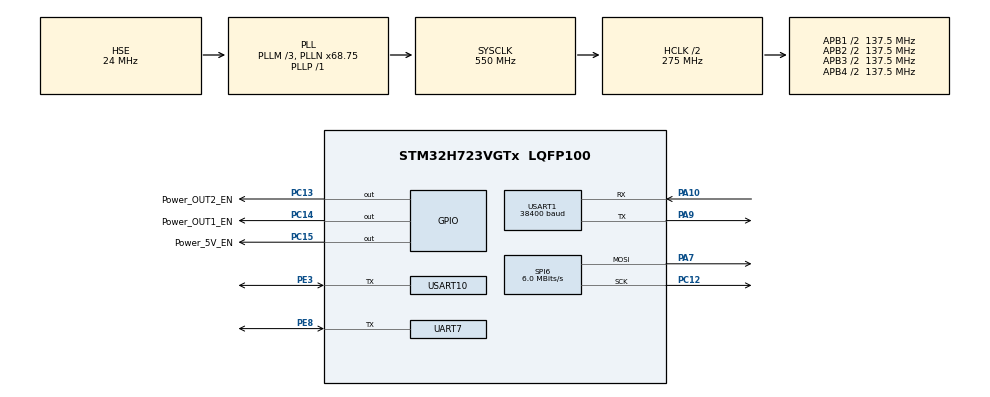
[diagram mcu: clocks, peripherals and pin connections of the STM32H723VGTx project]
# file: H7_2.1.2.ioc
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Bdma.Request0=SPI6_TX
Bdma.RequestsNb=1
Bdma.SPI6_TX.0.Direction=DMA_MEMORY_TO_PERIPH
Bdma.SPI6_TX.0.EventEnable=DISABLE
Bdma.SPI6_TX.0.Instance=BDMA_Channel0
Bdma.SPI6_TX.0.MemDataAlignment=DMA_MDATAALIGN_BYTE
Bdma.SPI6_TX.0.MemInc=DMA_MINC_ENABLE
Bdma.SPI6_TX.0.Mode=DMA_NORMAL
Bdma.SPI6_TX.0.PeriphDataAlignment=DMA_PDATAALIGN_BYTE
Bdma.SPI6_TX.0.PeriphInc=DMA_PINC_DISABLE
Bdma.SPI6_TX.0.Polarity=HAL_DMAMUX_REQ_GEN_RISING
Bdma.SPI6_TX.0.Priority=DMA_PRIORITY_LOW
Bdma.SPI6_TX.0.RequestNumber=1
Bdma.SPI6_TX.0.SignalID=NONE
Bdma.SPI6_TX.0.SyncEnable=DISABLE
Bdma.SPI6_TX.0.SyncPolarity=HAL_DMAMUX_SYNC_NO_EVENT
Bdma.SPI6_TX.0.SyncRequestNumber=1
Bdma.SPI6_TX.0.SyncSignalID=NONE
CORTEX_M7.CPU_ICache=Enabled
CORTEX_M7.MPU_Control=__NULL
CORTEX_M7.default_mode_Activation=1
Dma.Request0=USART1_RX
Dma.Request1=USART1_TX
Dma.Request2=USART10_RX
Dma.Request3=USART10_TX
Dma.Request4=UART7_RX
Dma.Request5=UART7_TX
Dma.UART7_RX.4.Direction=DMA_PERIPH_TO_MEMORY
Dma.UART7_RX.4.EventEnable=DISABLE
Dma.UART7_RX.4.FIFOMode=DMA_FIFOMODE_DISABLE
Dma.UART7_RX.4.Instance=DMA1_Stream4
Dma.UART7_RX.4.MemDataAlignment=DMA_MDATAALIGN_BYTE
Dma.UART7_RX.4.MemInc=DMA_MINC_ENABLE
Dma.UART7_RX.4.Mode=DMA_NORMAL
Dma.UART7_RX.4.PeriphDataAlignment=DMA_PDATAALIGN_BYTE
Dma.UART7_RX.4.PeriphInc=DMA_PINC_DISABLE
Dma.UART7_RX.4.Polarity=HAL_DMAMUX_REQ_GEN_RISING
Dma.UART7_RX.4.Priority=DMA_PRIORITY_LOW
Dma.UART7_RX.4.RequestNumber=1
Dma.UART7_RX.4.SignalID=NONE
Dma.UART7_RX.4.SyncEnable=DISABLE
Dma.UART7_RX.4.SyncPolarity=HAL_DMAMUX_SYNC_NO_EVENT
Dma.UART7_RX.4.SyncRequestNumber=1
Dma.UART7_RX.4.SyncSignalID=NONE
Dma.UART7_TX.5.Direction=DMA_MEMORY_TO_PERIPH
Dma.UART7_TX.5.EventEnable=DISABLE
Dma.UART7_TX.5.FIFOMode=DMA_FIFOMODE_DISABLE
Dma.UART7_TX.5.Instance=DMA1_Stream5
Dma.UART7_TX.5.MemDataAlignment=DMA_MDATAALIGN_BYTE
Dma.UART7_TX.5.MemInc=DMA_MINC_ENABLE
Dma.UART7_TX.5.Mode=DMA_NORMAL
Dma.UART7_TX.5.PeriphDataAlignment=DMA_PDATAALIGN_BYTE
Dma.UART7_TX.5.PeriphInc=DMA_PINC_DISABLE
Dma.UART7_TX.5.Polarity=HAL_DMAMUX_REQ_GEN_RISING
Dma.UART7_TX.5.Priority=DMA_PRIORITY_LOW
Dma.UART7_TX.5.RequestNumber=1
Dma.UART7_TX.5.SignalID=NONE
Dma.UART7_TX.5.SyncEnable=DISABLE
Dma.UART7_TX.5.SyncPolarity=HAL_DMAMUX_SYNC_NO_EVENT
Dma.UART7_TX.5.SyncRequestNumber=1
Dma.UART7_TX.5.SyncSignalID=NONE
Dma.USART10_RX.2.Direction=DMA_PERIPH_TO_MEMORY
Dma.USART10_RX.2.EventEnable=DISABLE
Dma.USART10_RX.2.FIFOMode=DMA_FIFOMODE_DISABLE
Dma.USART10_RX.2.Instance=DMA1_Stream2
Dma.USART10_RX.2.MemDataAlignment=DMA_MDATAALIGN_BYTE
Dma.USART10_RX.2.MemInc=DMA_MINC_ENABLE
Dma.USART10_RX.2.Mode=DMA_NORMAL
Dma.USART10_RX.2.PeriphDataAlignment=DMA_PDATAALIGN_BYTE
Dma.USART10_RX.2.PeriphInc=DMA_PINC_DISABLE
Dma.USART10_RX.2.Polarity=HAL_DMAMUX_REQ_GEN_RISING
Dma.USART10_RX.2.Priority=DMA_PRIORITY_LOW
Dma.USART10_RX.2.RequestNumber=1
Dma.USART10_RX.2.SignalID=NONE
Dma.USART10_RX.2.SyncEnable=DISABLE
Dma.USART10_RX.2.SyncPolarity=HAL_DMAMUX_SYNC_NO_EVENT
Dma.USART10_RX.2.SyncRequestNumber=1
Dma.USART10_RX.2.SyncSignalID=NONE
Dma.USART10_TX.3.Direction=DMA_MEMORY_TO_PERIPH
Dma.USART10_TX.3.EventEnable=DISABLE
Dma.USART10_TX.3.FIFOMode=DMA_FIFOMODE_DISABLE
Dma.USART10_TX.3.Instance=DMA1_Stream3
Dma.USART10_TX.3.MemDataAlignment=DMA_MDATAALIGN_BYTE
Dma.USART10_TX.3.MemInc=DMA_MINC_ENABLE
Dma.USART10_TX.3.Mode=DMA_NORMAL
Dma.USART10_TX.3.PeriphDataAlignment=DMA_PDATAALIGN_BYTE
Dma.USART10_TX.3.PeriphInc=DMA_PINC_DISABLE
Dma.USART10_TX.3.Polarity=HAL_DMAMUX_REQ_GEN_RISING
Dma.USART10_TX.3.Priority=DMA_PRIORITY_LOW
Dma.USART10_TX.3.RequestNumber=1
Dma.USART10_TX.3.SignalID=NONE
Dma.USART10_TX.3.SyncEnable=DISABLE
Dma.USART10_TX.3.SyncPolarity=HAL_DMAMUX_SYNC_NO_EVENT
Dma.USART10_TX.3.SyncRequestNumber=1
Dma.USART10_TX.3.SyncSignalID=NONE
Dma.USART1_RX.0.Direction=DMA_PERIPH_TO_MEMORY
Dma.USART1_RX.0.EventEnable=DISABLE
Dma.USART1_RX.0.FIFOMode=DMA_FIFOMODE_DISABLE
Dma.USART1_RX.0.Instance=DMA1_Stream0
Dma.USART1_RX.0.MemDataAlignment=DMA_MDATAALIGN_BYTE
Dma.USART1_RX.0.MemInc=DMA_MINC_ENABLE
Dma.USART1_RX.0.Mode=DMA_NORMAL
Dma.USART1_RX.0.PeriphDataAlignment=DMA_PDATAALIGN_BYTE
Dma.USART1_RX.0.PeriphInc=DMA_PINC_DISABLE
Dma.USART1_RX.0.Polarity=HAL_DMAMUX_REQ_GEN_RISING
Dma.USART1_RX.0.Priority=DMA_PRIORITY_LOW
Dma.USART1_RX.0.RequestNumber=1
Dma.USART1_RX.0.SignalID=NONE
Dma.USART1_RX.0.SyncEnable=DISABLE
Dma.USART1_RX.0.SyncPolarity=HAL_DMAMUX_SYNC_NO_EVENT
Dma.USART1_RX.0.SyncRequestNumber=1
Dma.USART1_RX.0.SyncSignalID=NONE
Dma.USART1_TX.1.Direction=DMA_MEMORY_TO_PERIPH
Dma.USART1_TX.1.EventEnable=DISABLE
Dma.USART1_TX.1.FIFOMode=DMA_FIFOMODE_DISABLE
Dma.USART1_TX.1.Instance=DMA1_Stream1
Dma.USART1_TX.1.MemDataAlignment=DMA_MDATAALIGN_BYTE
Dma.USART1_TX.1.MemInc=DMA_MINC_ENABLE
Dma.USART1_TX.1.Mode=DMA_NORMAL
Dma.USART1_TX.1.PeriphDataAlignment=DMA_PDATAALIGN_BYTE
Dma.USART1_TX.1.PeriphInc=DMA_PINC_DISABLE
Dma.USART1_TX.1.Polarity=HAL_DMAMUX_REQ_GEN_RISING
Dma.USART1_TX.1.Priority=DMA_PRIORITY_LOW
Dma.USART1_TX.1.RequestNumber=1
Dma.USART1_TX.1.SignalID=NONE
Dma.USART1_TX.1.SyncEnable=DISABLE
Dma.USART1_TX.1.SyncPolarity=HAL_DMAMUX_SYNC_NO_EVENT
Dma.USART1_TX.1.SyncRequestNumber=1
Dma.USART1_TX.1.SyncSignalID=NONE
FREERTOS.MEMORY_ALLOCATION=1
FREERTOS.Tasks01=defaultTask,0,128,StartDefaultTask,Default,NULL,Static,defaultTaskBuffer,defaultTaskControlBlock
FREERTOS.Timers01=myTimer01,Callback01,osTimerPeriodic,Default,NULL,Static,myTimer01ControlBlock;myTimer02,Callback02,osTimerPeriodic,Default,NULL,Static,myTimer02ControlBlock;myTimer03,Callback03,osTimerPeriodic,Default,NULL,Static,myTimer03ControlBlock
FREERTOS.configENABLE_FPU=1
FREERTOS.configUSE_NEWLIB_REENTRANT=1
FREERTOS.configUSE_TIMERS=1
FREERTOS.copyHeapFile=0
Mcu.Family=STM32H7
Mcu.Name=STM32H723VGTx
Mcu.Package=LQFP100
NVIC.BDMA_Channel0_IRQn=true\:5\:0\:false\:false\:true\:true\:false\:true\:true
NVIC.DMA1_Stream0_IRQn=true\:5\:0\:false\:false\:true\:true\:false\:true\:true
NVIC.DMA1_Stream1_IRQn=true\:5\:0\:false\:false\:true\:true\:false\:true\:true
NVIC.DMA1_Stream2_IRQn=true\:5\:0\:false\:false\:true\:true\:false\:true\:true
NVIC.DMA1_Stream3_IRQn=true\:5\:0\:false\:false\:true\:true\:false\:true\:true
NVIC.DMA1_Stream4_IRQn=true\:5\:0\:false\:false\:true\:true\:false\:true\:true
NVIC.DMA1_Stream5_IRQn=true\:5\:0\:false\:false\:true\:true\:false\:true\:true
NVIC.PriorityGroup=NVIC_PRIORITYGROUP_4
NVIC.SPI6_IRQn=true\:5\:0\:false\:false\:true\:true\:true\:true\:true
NVIC.TIM6_DAC_IRQn=true\:15\:0\:false\:false\:true\:false\:false\:true\:true
NVIC.TimeBase=TIM6_DAC_IRQn
NVIC.TimeBaseIP=TIM6
NVIC.UART7_IRQn=true\:5\:0\:false\:false\:true\:true\:true\:true\:true
NVIC.USART10_IRQn=true\:5\:0\:false\:false\:true\:true\:true\:true\:true
NVIC.USART1_IRQn=true\:5\:0\:false\:false\:true\:true\:true\:true\:true
PA10.Mode=Asynchronous
PA10.Signal=USART1_RX
PA13(JTMS/SWDIO).Mode=Serial_Wire
PA13(JTMS/SWDIO).Signal=DEBUG_JTMS-SWDIO
PA14(JTCK/SWCLK).Mode=Serial_Wire
PA14(JTCK/SWCLK).Signal=DEBUG_JTCK-SWCLK
PA7.Mode=TX_Only_Simplex_Unidirect_Master
PA7.Signal=SPI6_MOSI
PA9.Mode=Asynchronous
PA9.Signal=USART1_TX
PC12.Mode=TX_Only_Simplex_Unidirect_Master
PC12.Signal=SPI6_SCK
PC13.GPIO_Label=Power_OUT2_EN
PC13.Signal=GPIO_Output
PC14-OSC32_IN.GPIO_Label=Power_OUT1_EN
PC14-OSC32_IN.Signal=GPIO_Output
PC15-OSC32_OUT.GPIO_Label=Power_5V_EN
PC15-OSC32_OUT.Signal=GPIO_Output
PE2.GPIO_ModeDefaultPP=GPIO_MODE_AF_PP
PE2.GPIO_PuPd=GPIO_NOPULL
PE2.Signal=USART10_RX
PE3.GPIO_ModeDefaultOD=GPIO_MODE_AF_PP
PE3.GPIO_ModeDefaultPP=GPIO_MODE_AF_OD
PE3.Mode=Half_duplex(single_wire_mode)
PE3.Signal=USART10_TX
PE8.GPIO_ModeDefaultPP=GPIO_MODE_AF_OD
PE8.Mode=Half_duplex(single_wire_mode)
PE8.Signal=UART7_TX
PH0-OSC_IN.Mode=HSE-External-Oscillator
PH0-OSC_IN.Signal=RCC_OSC_IN
PH1-OSC_OUT.Mode=HSE-External-Oscillator
PH1-OSC_OUT.Signal=RCC_OSC_OUT
ProjectManager.HeapSize=0x200
ProjectManager.StackSize=0x400
ProjectManager.TargetToolchain=STM32CubeIDE
RCC.ADCFreq_Value=96000000
RCC.APB1Freq_Value=137500000
RCC.APB2Freq_Value=137500000
RCC.APB3Freq_Value=137500000
RCC.APB4Freq_Value=137500000
RCC.CortexFreq_Value=550000000
RCC.D1PPRE=RCC_APB3_DIV2
RCC.D2PPRE1=RCC_APB1_DIV2
RCC.D2PPRE2=RCC_APB2_DIV2
RCC.D3PPRE=RCC_APB4_DIV2
RCC.DIVM1=3
RCC.DIVM2=2
RCC.DIVM3=2
RCC.DIVN1=68
RCC.DIVN2=16
RCC.DIVN3=18
RCC.DIVP1=1
RCC.DIVQ3=3
RCC.HCLKFreq_Value=275000000
RCC.HPRE=RCC_HCLK_DIV2
RCC.HSE_VALUE=24000000
RCC.PLL2FRACN=0
RCC.PLL3FRACN=0
RCC.PLLFRACN=6144
RCC.PLLSourceVirtual=RCC_PLLSOURCE_HSE
RCC.SPI6CLockSelection=RCC_SPI6CLKSOURCE_HSE
RCC.SYSCLKFreq_VALUE=550000000
RCC.SYSCLKSource=RCC_SYSCLKSOURCE_PLLCLK
RCC.USART16CLockSelection=RCC_USART16910CLKSOURCE_PLL2
RCC.USBFreq_Value=275000000
SPI6.BaudRatePrescaler=SPI_BAUDRATEPRESCALER_4
SPI6.CLKPhase=SPI_PHASE_2EDGE
SPI6.CalculateBaudRate=6.0 MBits/s
SPI6.DataSize=SPI_DATASIZE_8BIT
SPI6.Direction=SPI_DIRECTION_2LINES_TXONLY
SPI6.Mode=SPI_MODE_MASTER
SPI6.VirtualType=VM_MASTER
UART7.BaudRate=38400
UART7.RxPinLevelInvertParam=UART_ADVFEATURE_RXINV_ENABLE
UART7.TxPinLevelInvertParam=UART_ADVFEATURE_TXINV_ENABLE
USART1.BaudRate=38400
USART1.VirtualMode-Asynchronous=VM_ASYNC
USART10.BaudRate=38400
USART10.RxPinLevelInvertParam=ADVFEATURE_RXINV_ENABLE
USART10.TxPinLevelInvertParam=ADVFEATURE_TXINV_ENABLE
USART10.VirtualMode=VM_ASYNC
VP_FREERTOS_VS_CMSIS_V1.Mode=CMSIS_V1
VP_MEMORYMAP_VS_MEMORYMAP.Mode=CurAppReg
VP_SYS_VS_tim6.Mode=TIM6
board=custom

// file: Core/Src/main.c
/* USER CODE BEGIN Header */
/**
  ******************************************************************************
  * @file           : main.c
  * @brief          : Main program body
  ******************************************************************************
  * @attention
  *
  * Copyright (c) 2026 STMicroelectronics.
  * All rights reserved.
  *
  * This software is licensed under terms that can be found in the LICENSE file
  * in the root directory of this software component.
  * If no LICENSE file comes with this software, it is provided AS-IS.
  *
  ******************************************************************************
  */
/* USER CODE END Header */
#include "main.h"
#include "cmsis_os.h"
#include "bdma.h"
#include "dma.h"
#include "spi.h"
#include "usart.h"
#include "gpio.h"

/* USER CODE BEGIN Includes */
#include <string.h>
/* USER CODE END Includes */

/* USER CODE BEGIN PV */
/* UART relay host (USART1) <-> motor (UART7, half-duplex) - from L475_M0603_Feedback */
uint8_t usart1_rx_data[256] = {0};
uint8_t uart7_rx_data[256] = {0};
uint8_t usart1_tx_buf[256] = {0};
uint8_t uart7_tx_buf[256] = {0};
volatile uint16_t usart1_tx_len = 0;
volatile uint16_t uart7_tx_len = 0;
volatile uint8_t usart1_tx_busy = 0;
volatile uint8_t uart7_tx_busy = 0;

/* M0603 motor command packets (10 bytes) - for direct motor control */
const uint8_t m0603_enable[10]      = {0x01, 0xA0, 0x08, 0x00, 0x00, 0x00, 0x00, 0x00, 0x00, 0x6F};
const uint8_t m0603_speed_loop[10]   = {0x01, 0xA0, 0x02, 0x00, 0x00, 0x00, 0x00, 0x00, 0x00, 0xE4};
const uint8_t m0603_30RPM[10]       = {0x01, 0x64, 0x01, 0x2C, 0x00, 0x00, 0x00, 0x00, 0x00, 0xA6};
const uint8_t m0603_10RPM_CW[10]    = {0x01, 0x64, 0x00, 0x64, 0x00, 0x00, 0x00, 0x00, 0x00, 0x4F};
const uint8_t m0603_10RPM_CCW[10]   = {0x01, 0x64, 0xFF, 0x9C, 0x00, 0x00, 0x00, 0x00, 0x00, 0x9A};
const uint8_t m0603_30RPM_CCW[10]   = {0x01, 0x64, 0xFE, 0xD4, 0x00, 0x00, 0x00, 0x00, 0x00, 0x73};
/* USER CODE END PV */

void SystemClock_Config(void);
void PeriphCommonClock_Config(void);
void MX_FREERTOS_Init(void);

/* USER CODE BEGIN 0 */
/* UART7->USART1 relay: motor feedback on UART7 is forwarded up to host on USART1.
 * (No commands are forwarded from USART1 down to the motors in this mode.) */
static void UART7_StartRxDMA(void)
{
  HAL_UART_DMAStop(&huart7);
  HAL_HalfDuplex_EnableReceiver(&huart7);
  if (HAL_UARTEx_ReceiveToIdle_DMA(&huart7, uart7_rx_data, sizeof(uart7_rx_data)) == HAL_OK)
  {
    __HAL_DMA_DISABLE_IT(huart7.hdmarx, DMA_IT_HT);
  }
}

static void UART7_StopRxDMA(void)
{
  HAL_UART_DMAStop(&huart7);
}
/* USER CODE END 0 */

int main(void)
{

  /* Enable the CPU Cache */

  /* Enable I-Cache---------------------------------------------------------*/
  SCB_EnableICache();

  /* MCU Configuration--------------------------------------------------------*/

  /* Reset of all peripherals, Initializes the Flash interface and the Systick. */
  HAL_Init();

  /* Configure the system clock */
  SystemClock_Config();

  /* Configure the peripherals common clocks */
  PeriphCommonClock_Config();

  /* Initialize all configured peripherals */
  MX_GPIO_Init();
  MX_BDMA_Init();
  MX_DMA_Init();
  MX_SPI6_Init();
  MX_USART1_UART_Init();
  MX_USART10_UART_Init();
  MX_UART7_Init();
  /* USER CODE BEGIN 2 */
  HAL_GPIO_TogglePin(Power_5V_EN_GPIO_Port, Power_5V_EN_Pin);
  HAL_GPIO_TogglePin(Power_OUT2_EN_GPIO_Port, Power_OUT2_EN_Pin);
  HAL_GPIO_TogglePin(Power_OUT1_EN_GPIO_Port, Power_OUT1_EN_Pin);
  HAL_Delay(300);
  /* UART7 RX DMA/relay disabled while using UART7 for periodic motor TX only. */
  /* USER CODE END 2 */

  /* Call init function for freertos objects (in cmsis_os2.c) */
  MX_FREERTOS_Init();

  /* Start scheduler */
  osKernelStart();

  /* We should never get here as control is now taken by the scheduler */

  /* Infinite loop */
  while (1)
  {

  }
}

void SystemClock_Config(void)
{
  RCC_OscInitTypeDef RCC_OscInitStruct = {0};
  RCC_ClkInitTypeDef RCC_ClkInitStruct = {0};

  /** Supply configuration update enable
  */
  HAL_PWREx_ConfigSupply(PWR_LDO_SUPPLY);

  /** Configure the main internal regulator output voltage
  */
  __HAL_PWR_VOLTAGESCALING_CONFIG(PWR_REGULATOR_VOLTAGE_SCALE0);

  while(!__HAL_PWR_GET_FLAG(PWR_FLAG_VOSRDY)) {}

  /** Initializes the RCC Oscillators according to the specified parameters
  * in the RCC_OscInitTypeDef structure.
  */
  RCC_OscInitStruct.OscillatorType = RCC_OSCILLATORTYPE_HSE;
  RCC_OscInitStruct.HSEState = RCC_HSE_ON;
  RCC_OscInitStruct.PLL.PLLState = RCC_PLL_ON;
  RCC_OscInitStruct.PLL.PLLSource = RCC_PLLSOURCE_HSE;
  RCC_OscInitStruct.PLL.PLLM = 3;
  RCC_OscInitStruct.PLL.PLLN = 68;
  RCC_OscInitStruct.PLL.PLLP = 1;
  RCC_OscInitStruct.PLL.PLLQ = 2;
  RCC_OscInitStruct.PLL.PLLR = 2;
  RCC_OscInitStruct.PLL.PLLRGE = RCC_PLL1VCIRANGE_3;
  RCC_OscInitStruct.PLL.PLLVCOSEL = RCC_PLL1VCOWIDE;
  RCC_OscInitStruct.PLL.PLLFRACN = 6144;
  if (HAL_RCC_OscConfig(&RCC_OscInitStruct) != HAL_OK)
  {
    Error_Handler();
  }

  /** Initializes the CPU, AHB and APB buses clocks
  */
  RCC_ClkInitStruct.ClockType = RCC_CLOCKTYPE_HCLK|RCC_CLOCKTYPE_SYSCLK
                              |RCC_CLOCKTYPE_PCLK1|RCC_CLOCKTYPE_PCLK2
                              |RCC_CLOCKTYPE_D3PCLK1|RCC_CLOCKTYPE_D1PCLK1;
  RCC_ClkInitStruct.SYSCLKSource = RCC_SYSCLKSOURCE_PLLCLK;
  RCC_ClkInitStruct.SYSCLKDivider = RCC_SYSCLK_DIV1;
  RCC_ClkInitStruct.AHBCLKDivider = RCC_HCLK_DIV2;
  RCC_ClkInitStruct.APB3CLKDivider = RCC_APB3_DIV2;
  RCC_ClkInitStruct.APB1CLKDivider = RCC_APB1_DIV2;
  RCC_ClkInitStruct.APB2CLKDivider = RCC_APB2_DIV2;
  RCC_ClkInitStruct.APB4CLKDivider = RCC_APB4_DIV2;

  if (HAL_RCC_ClockConfig(&RCC_ClkInitStruct, FLASH_LATENCY_3) != HAL_OK)
  {
    Error_Handler();
  }
}

void PeriphCommonClock_Config(void)
{
  RCC_PeriphCLKInitTypeDef PeriphClkInitStruct = {0};

  /** Initializes the peripherals clock
  */
  PeriphClkInitStruct.PeriphClockSelection = RCC_PERIPHCLK_USART1|RCC_PERIPHCLK_USART10;
  PeriphClkInitStruct.PLL2.PLL2M = 2;
  PeriphClkInitStruct.PLL2.PLL2N = 16;
  PeriphClkInitStruct.PLL2.PLL2P = 2;
  PeriphClkInitStruct.PLL2.PLL2Q = 2;
  PeriphClkInitStruct.PLL2.PLL2R = 2;
  PeriphClkInitStruct.PLL2.PLL2RGE = RCC_PLL2VCIRANGE_3;
  PeriphClkInitStruct.PLL2.PLL2VCOSEL = RCC_PLL2VCOWIDE;
  PeriphClkInitStruct.PLL2.PLL2FRACN = 0;
  PeriphClkInitStruct.Usart16ClockSelection = RCC_USART16910CLKSOURCE_PLL2;
  if (HAL_RCCEx_PeriphCLKConfig(&PeriphClkInitStruct) != HAL_OK)
  {
    Error_Handler();
  }
}

/* USER CODE BEGIN 4 */
void HAL_UART_ErrorCallback(UART_HandleTypeDef *huart)
{
  if (huart->Instance == UART7)
  {
    HAL_UART_DMAStop(&huart7);
    HAL_UART_Abort(&huart7);
    __HAL_UART_CLEAR_OREFLAG(&huart7);
    __HAL_UART_CLEAR_FEFLAG(&huart7);
    __HAL_UART_CLEAR_NEFLAG(&huart7);
    __HAL_UART_CLEAR_PEFLAG(&huart7);
    __HAL_UART_CLEAR_IDLEFLAG(&huart7);
    uart7_tx_busy = 0;
    UART7_StartRxDMA();
  }
}

void HAL_UART_TxCpltCallback(UART_HandleTypeDef *huart)
{
  if (huart->Instance == UART7)
  {
    uart7_tx_busy = 0;
    HAL_HalfDuplex_EnableReceiver(&huart7);
    UART7_StartRxDMA();
  }
}

void HAL_UARTEx_RxEventCallback(UART_HandleTypeDef *huart, uint16_t Size)
{
  if (huart->Instance == UART7)
  {
    if ((Size > 0U) && (Size <= sizeof(usart1_tx_buf)) && (!usart1_tx_busy))
    {
      memcpy(usart1_tx_buf, uart7_rx_data, Size);
      usart1_tx_len = Size;
      if (HAL_UART_Transmit_DMA(&huart1, usart1_tx_buf, usart1_tx_len) == HAL_OK)
      {
        usart1_tx_busy = 1;
      }
    }
    UART7_StartRxDMA();
  }
}
/* USER CODE END 4 */

void HAL_TIM_PeriodElapsedCallback(TIM_HandleTypeDef *htim)
{
  if (htim->Instance == TIM6)
  {
    HAL_IncTick();
  }
}

void Error_Handler(void)
{
  __disable_irq();
  while (1)
  {
  }
}

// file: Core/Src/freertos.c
/* USER CODE BEGIN Header */
/**
  ******************************************************************************
  * File Name          : freertos.c
  * Description        : Code for freertos applications
  ******************************************************************************
  * @attention
  *
  * Copyright (c) 2026 STMicroelectronics.
  * All rights reserved.
  *
  * This software is licensed under terms that can be found in the LICENSE file
  * in the root directory of this software component.
  * If no LICENSE file comes with this software, it is provided AS-IS.
  *
  ******************************************************************************
  */
/* USER CODE END Header */

#include "FreeRTOS.h"
#include "task.h"
#include "main.h"
#include "cmsis_os.h"

/* USER CODE BEGIN Includes */
#include "usart.h"
/* USER CODE END Includes */

osThreadId defaultTaskHandle;
uint32_t defaultTaskBuffer[ 128 ];
osStaticThreadDef_t defaultTaskControlBlock;
osTimerId myTimer01Handle;
osStaticTimerDef_t myTimer01ControlBlock;
osTimerId myTimer02Handle;
osStaticTimerDef_t myTimer02ControlBlock;
osTimerId myTimer03Handle;
osStaticTimerDef_t myTimer03ControlBlock;

void StartDefaultTask(void const * argument);
void Callback01(void const * argument);
void Callback02(void const * argument);
void Callback03(void const * argument);

void MX_FREERTOS_Init(void); /* (MISRA C 2004 rule 8.1) */

/* GetIdleTaskMemory prototype (linked to static allocation support) */
void vApplicationGetIdleTaskMemory( StaticTask_t **ppxIdleTaskTCBBuffer, StackType_t **ppxIdleTaskStackBuffer, uint32_t *pulIdleTaskStackSize );

/* GetTimerTaskMemory prototype (linked to static allocation support) */
void vApplicationGetTimerTaskMemory( StaticTask_t **ppxTimerTaskTCBBuffer, StackType_t **ppxTimerTaskStackBuffer, uint32_t *pulTimerTaskStackSize );

/* USER CODE BEGIN GET_IDLE_TASK_MEMORY */
static StaticTask_t xIdleTaskTCBBuffer;
static StackType_t xIdleStack[configMINIMAL_STACK_SIZE];

void vApplicationGetIdleTaskMemory( StaticTask_t **ppxIdleTaskTCBBuffer, StackType_t **ppxIdleTaskStackBuffer, uint32_t *pulIdleTaskStackSize )
{
  *ppxIdleTaskTCBBuffer = &xIdleTaskTCBBuffer;
  *ppxIdleTaskStackBuffer = &xIdleStack[0];
  *pulIdleTaskStackSize = configMINIMAL_STACK_SIZE;
  /* place for user code */
}
/* USER CODE END GET_IDLE_TASK_MEMORY */

/* USER CODE BEGIN GET_TIMER_TASK_MEMORY */
static StaticTask_t xTimerTaskTCBBuffer;
static StackType_t xTimerStack[configTIMER_TASK_STACK_DEPTH];

void vApplicationGetTimerTaskMemory( StaticTask_t **ppxTimerTaskTCBBuffer, StackType_t **ppxTimerTaskStackBuffer, uint32_t *pulTimerTaskStackSize )
{
  *ppxTimerTaskTCBBuffer = &xTimerTaskTCBBuffer;
  *ppxTimerTaskStackBuffer = &xTimerStack[0];
  *pulTimerTaskStackSize = configTIMER_TASK_STACK_DEPTH;
  /* place for user code */
}
/* USER CODE END GET_TIMER_TASK_MEMORY */

void MX_FREERTOS_Init(void) {

  /* Create the timer(s) */
  /* definition and creation of myTimer01 */
  osTimerStaticDef(myTimer01, Callback01, &myTimer01ControlBlock);
  myTimer01Handle = osTimerCreate(osTimer(myTimer01), osTimerPeriodic, NULL);

  /* definition and creation of myTimer02 */
  osTimerStaticDef(myTimer02, Callback02, &myTimer02ControlBlock);
  myTimer02Handle = osTimerCreate(osTimer(myTimer02), osTimerPeriodic, NULL);

  /* definition and creation of myTimer03 */
  osTimerStaticDef(myTimer03, Callback03, &myTimer03ControlBlock);
  myTimer03Handle = osTimerCreate(osTimer(myTimer03), osTimerPeriodic, NULL);

  /* Create the thread(s) */
  /* definition and creation of defaultTask */
  osThreadStaticDef(defaultTask, StartDefaultTask, osPriorityNormal, 0, 128, defaultTaskBuffer, &defaultTaskControlBlock);
  defaultTaskHandle = osThreadCreate(osThread(defaultTask), NULL);

}

void StartDefaultTask(void const * argument)
{
  /* USER CODE BEGIN StartDefaultTask */
  /* Motor control sequence (M0603) on USART10 and UART7.
   * UART7 also forwards received data up to USART1 (see main.c). */
  for(;;)
  {
    /* Ensure USART10 is in transmit mode (half-duplex instance) */
    HAL_HalfDuplex_EnableTransmitter(&huart10);

    HAL_UART_Transmit(&huart10, (uint8_t*)m0603_enable, 10u, 100);
    osDelay(100);
    HAL_UART_Transmit(&huart10, (uint8_t*)m0603_speed_loop, 10u, 100);
    osDelay(1000);
    HAL_UART_Transmit(&huart10, (uint8_t*)m0603_30RPM, 10u, 100);
    osDelay(1000);
    HAL_UART_Transmit(&huart10, (uint8_t*)m0603_30RPM_CCW, 10u, 100);
    osDelay(1000);
    HAL_UART_Transmit(&huart10, (uint8_t*)m0603_10RPM_CW, 10u, 100);
    osDelay(1000);
    HAL_UART_Transmit(&huart10, (uint8_t*)m0603_10RPM_CCW, 10u, 100);
    osDelay(3000);

    /* Same sequence on UART7 (half-duplex motor port) */
    HAL_HalfDuplex_EnableTransmitter(&huart7);
    HAL_UART_Transmit(&huart7, (uint8_t*)m0603_enable, 10u, 100);
    osDelay(100);
    HAL_UART_Transmit(&huart7, (uint8_t*)m0603_speed_loop, 10u, 100);
    osDelay(1000);
    HAL_UART_Transmit(&huart7, (uint8_t*)m0603_30RPM, 10u, 100);
    osDelay(1000);
    HAL_UART_Transmit(&huart7, (uint8_t*)m0603_30RPM_CCW, 10u, 100);
    osDelay(1000);
    HAL_UART_Transmit(&huart7, (uint8_t*)m0603_10RPM_CW, 10u, 100);
    osDelay(1000);
    HAL_UART_Transmit(&huart7, (uint8_t*)m0603_10RPM_CCW, 10u, 100);
    osDelay(3000);
  }
  /* USER CODE END StartDefaultTask */
}

/* Callback01 function */
void Callback01(void const * argument)
{
}

/* Callback02 function */
void Callback02(void const * argument)
{
}

/* Callback03 function */
void Callback03(void const * argument)
{
}
